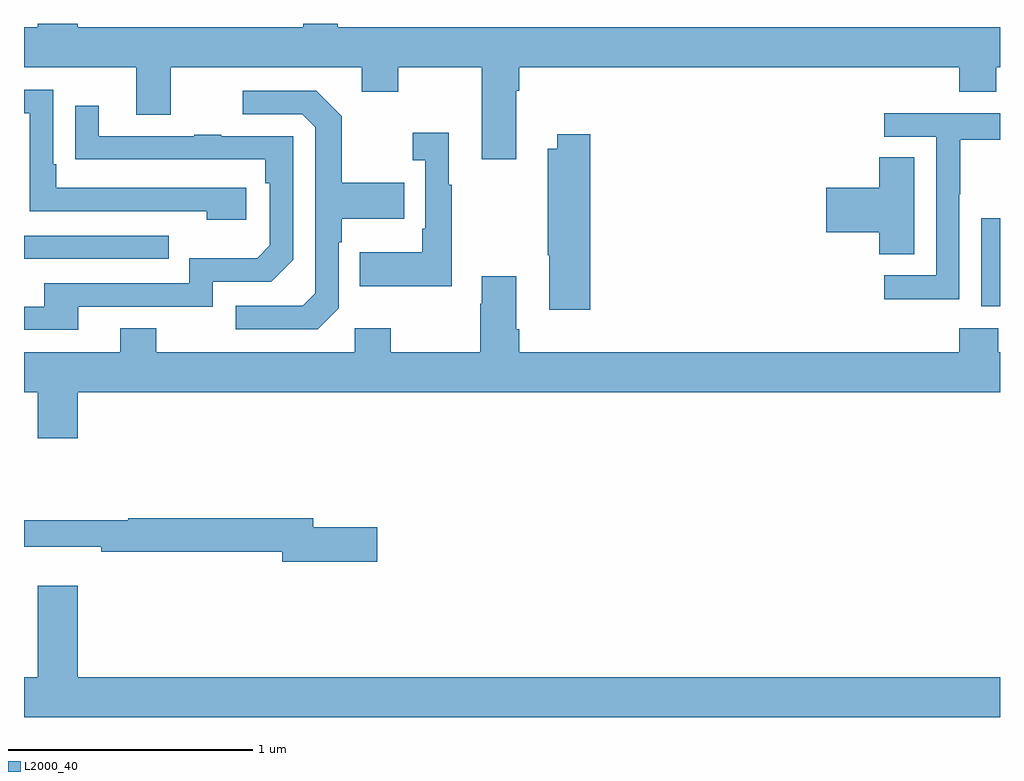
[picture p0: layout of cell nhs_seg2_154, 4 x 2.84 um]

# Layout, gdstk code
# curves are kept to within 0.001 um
import gdstk
lib = gdstk.Library(unit=1e-6, precision=1e-09)
def R(c, l, rs):  # rectangles x0, y0, x1, y1
    for r in rs: c.add(gdstk.rectangle(r[:2], r[2:], *l))
def P(c, l, *ps):  # polygons
    for p in ps: c.add(gdstk.Polygon(p, *l))
L2000_40 = (2000, 40)

nhs_seg2_154 = lib.new_cell('nhs_seg2_154')
R(nhs_seg2_154, L2000_40, [(120.923,662.642,121,663.003), (117,662.835,117.593,662.931)])
P(nhs_seg2_154, L2000_40, [(119.017,663.524),(119.03,663.524),(119.03,663.62),(120.833,663.62),(120.833,663.521),(120.985,663.521),(120.985,663.62),(121,663.62),(121,663.784),(118.285,663.784),(118.285,663.8),(118.145,663.8),(118.145,663.784),(117.22,663.784),(117.22,663.8),(117.056,663.8),(117.056,663.784),(117,663.784),(117,663.62),(117.461,663.62),(117.461,663.426),(117.601,663.426),(117.601,663.62),(118.385,663.62),(118.385,663.521),(118.533,663.521),(118.533,663.62),(118.877,663.62),(118.877,663.243),(119.017,663.243)],
  [(117.91,663.126),(117.133,663.126),(117.133,663.223),(117.12,663.223),(117.12,663.528),(117,663.528),(117,663.432),(117.024,663.432),(117.024,663.03),(117.749,663.03),(117.749,662.996),(117.91,662.996)],
  [(118.29,662.634),(118.29,662.903),(118.303,662.903),(118.303,662.999),(118.559,662.999),(118.559,663.147),(118.303,663.147),(118.303,663.419),(118.197,663.525),(117.897,663.525),(117.897,663.429),(118.14,663.429),(118.194,663.375),(118.194,662.694),(118.143,662.643),(117.867,662.643),(117.867,662.547),(118.203,662.547)],
  [(117.223,662.64),(117.774,662.64),(117.774,662.742),(118.014,662.742),(118.104,662.832),(118.104,663.339),(117.809,663.339),(117.809,663.344),(117.697,663.344),(117.697,663.339),(117.307,663.339),(117.307,663.463),(117.211,663.463),(117.211,663.244),(117.988,663.243),(117.988,663.146),(118.008,663.146),(118.008,662.892),(117.955,662.839),(117.678,662.839),(117.678,662.736),(117.083,662.736),(117.083,662.64),(117,662.64),(117,662.544),(117.223,662.544)],
  [(120.834,663.1),(120.837,663.1),(120.837,663.324),(121,663.324),(121,663.432),(120.525,663.432),(120.525,663.336),(120.738,663.336),(120.738,662.769),(120.525,662.769),(120.525,662.671),(120.834,662.671)],
  [(118.753,663.139),(118.741,663.139),(118.741,663.352),(118.593,663.352),(118.593,663.239),(118.644,663.239),(118.644,662.959),(118.632,662.959),(118.632,662.863),(118.375,662.863),(118.375,662.723),(118.753,662.723)],
  [(119.321,663.346),(119.186,663.346),(119.186,663.286),(119.146,663.286),(119.146,662.851),(119.153,662.851),(119.153,662.628),(119.321,662.628)],
  [(120.649,663.251),(120.506,663.251),(120.506,663.128),(120.288,663.128),(120.288,662.945),(120.506,662.945),(120.506,662.854),(120.649,662.854)],
  [(117.22,662.288),(121,662.288),(121,662.452),(120.993,662.452),(120.993,662.551),(120.833,662.551),(120.833,662.452),(119.03,662.452),(119.03,662.548),(119.017,662.548),(119.017,662.764),(118.877,662.764),(118.877,662.651),(118.87,662.651),(118.87,662.452),(118.503,662.452),(118.503,662.551),(118.356,662.551),(118.356,662.452),(117.543,662.452),(117.543,662.551),(117.395,662.551),(117.395,662.452),(117,662.452),(117,662.288),(117.056,662.288),(117.056,662.1),(117.22,662.1)],
  [(118.447,661.736),(118.186,661.736),(118.186,661.772),(117.427,661.772),(117.427,661.765),(117,661.765),(117,661.655),(117.316,661.655),(117.316,661.636),(118.058,661.636),(118.058,661.594),(118.447,661.594)],
  [(121,661.12),(117.22,661.12),(117.22,661.495),(117.056,661.495),(117.056,661.12),(117,661.12),(117,660.956),(121,660.956)])

lib.write_gds('nhs_seg2_154.gds')
